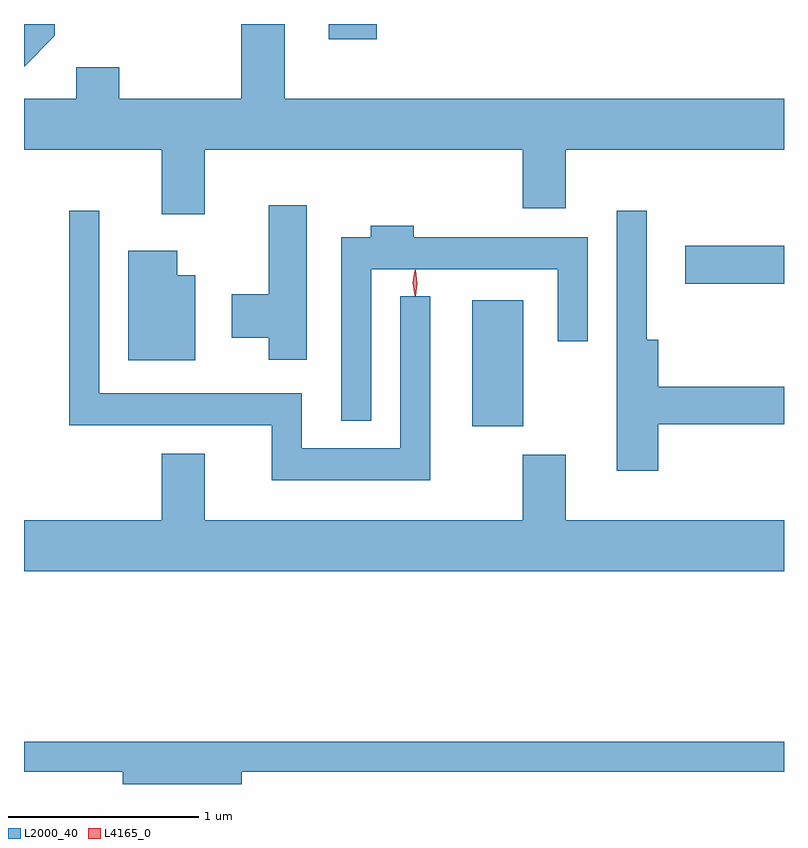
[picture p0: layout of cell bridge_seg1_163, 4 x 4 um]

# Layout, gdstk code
import gdstk
lib = gdstk.Library(unit=1e-6, precision=1e-09)
def R(c, l, rs):  # rectangles x0, y0, x1, y1
    for r in rs: c.add(gdstk.rectangle(r[:2], r[2:], *l))
def P(c, l, *ps):  # polygons
    for p in ps: c.add(gdstk.Polygon(p, *l))
L2000_40 = (2000, 40)
L4165_0 = (4165, 0)

bridge_seg1_163 = lib.new_cell('bridge_seg1_163')
R(bridge_seg1_163, L2000_40, [(806.516,969.161,806.784,969.824), (807.636,969.911,808.157,970.109), (805.761,971.196,806.014,971.277)])
P(bridge_seg1_163, L2000_40, [(805.109,970.616),(806.781,970.616),(806.781,970.306),(807.009,970.306),(807.009,970.616),(808.157,970.616),(808.157,970.884),(805.529,970.884),(805.529,971.277),(805.301,971.277),(805.301,970.884),(804.659,970.884),(804.659,971.049),(804.431,971.049),(804.431,970.884),(804.157,970.884),(804.157,970.616),(804.881,970.616),(804.881,970.276),(805.109,970.276)],
  [(804.319,971.214),(804.319,971.277),(804.157,971.277),(804.157,971.051)],
  [(805.644,970.324),(805.446,970.324),(805.446,969.854),(805.251,969.854),(805.251,969.626),(805.446,969.626),(805.446,969.511),(805.644,969.511)],
  [(806.294,969.843),(806.136,969.843),(806.136,969.044),(805.619,969.044),(805.619,969.334),(804.554,969.334),(804.554,970.293),(804.396,970.293),(804.396,969.166),(805.461,969.166),(805.461,968.876),(806.294,968.876)],
  [(807.494,969.171),(808.157,969.171),(808.157,969.369),(807.494,969.369),(807.494,969.614),(807.434,969.614),(807.434,970.293),(807.276,970.293),(807.276,968.926),(807.494,968.926)],
  [(805.984,969.986),(806.966,969.986),(806.966,969.608),(807.124,969.608),(807.124,970.154),(806.209,970.154),(806.209,970.214),(805.981,970.214),(805.981,970.154),(805.826,970.154),(805.826,969.188),(805.984,969.188)],
  [(805.059,969.954),(804.964,969.954),(804.964,970.084),(804.706,970.084),(804.706,969.506),(805.059,969.506)],
  [(808.157,968.664),(807.009,968.664),(807.009,969.009),(806.781,969.009),(806.781,968.664),(805.109,968.664),(805.109,969.014),(804.881,969.014),(804.881,968.664),(804.157,968.664),(804.157,968.396),(808.157,968.396)],
  [(805.304,967.341),(808.157,967.341),(808.157,967.499),(804.157,967.499),(804.157,967.341),(804.676,967.341),(804.676,967.277),(805.304,967.277)])
P(bridge_seg1_163, L4165_0, [(806.217,969.844),(806.208,969.913),(806.217,969.982),(806.218,969.983),(806.218,969.982),(806.228,969.913),(806.218,969.844),(806.218,969.844)],
  [(806.214,969.847),(806.214,969.847),(806.204,969.914),(806.214,969.98),(806.214,969.981),(806.215,969.98),(806.224,969.914),(806.215,969.847)])

lib.write_gds('bridge_seg1_163.gds')
